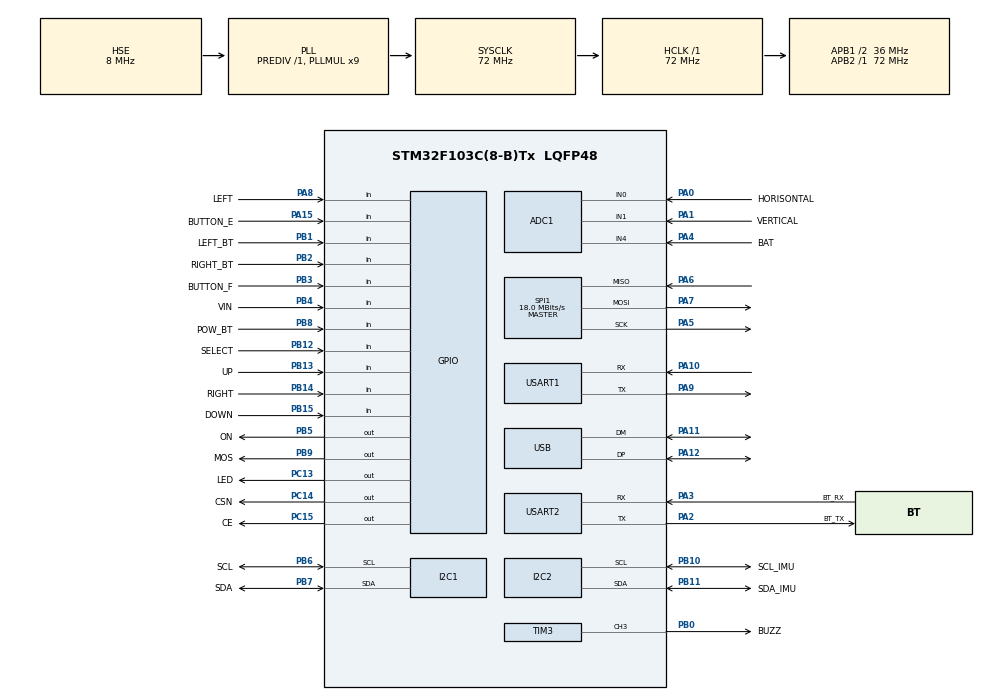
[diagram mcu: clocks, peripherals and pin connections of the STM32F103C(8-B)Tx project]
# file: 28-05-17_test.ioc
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ADC1.Channel-28\#ChannelRegularConversion=ADC_CHANNEL_0
ADC1.NbrOfConversionFlag=1
ADC1.Rank-28\#ChannelRegularConversion=1
ADC1.SamplingTime-28\#ChannelRegularConversion=ADC_SAMPLETIME_1CYCLE_5
ADC1.master=1
Mcu.Family=STM32F1
Mcu.Name=STM32F103C(8-B)Tx
Mcu.Package=LQFP48
NVIC.PriorityGroup=NVIC_PRIORITYGROUP_4
NVIC.USB_LP_CAN1_RX0_IRQn=true\:0\:0\:false\:false\:true\:true\:true
PA0-WKUP.GPIO_Label=HORISONTAL
PA0-WKUP.Signal=ADCx_IN0
PA1.GPIO_Label=VERTICAL
PA1.Signal=ADCx_IN1
PA10.Mode=Asynchronous
PA10.Signal=USART1_RX
PA11.Mode=Device
PA11.Signal=USB_DM
PA12.Mode=Device
PA12.Signal=USB_DP
PA13.Mode=Serial_Wire
PA13.Signal=SYS_JTMS-SWDIO
PA14.Mode=Serial_Wire
PA14.Signal=SYS_JTCK-SWCLK
PA15.GPIO_Label=BUTTON_E
PA15.Signal=GPIO_Input
PA2.GPIO_Label=BT_TX
PA2.Mode=Asynchronous
PA2.Signal=USART2_TX
PA3.GPIO_Label=BT_RX
PA3.Mode=Asynchronous
PA3.Signal=USART2_RX
PA4.GPIO_Label=BAT
PA4.Signal=ADCx_IN4
PA5.Mode=Full_Duplex_Master
PA5.Signal=SPI1_SCK
PA6.Mode=Full_Duplex_Master
PA6.Signal=SPI1_MISO
PA7.Mode=Full_Duplex_Master
PA7.Signal=SPI1_MOSI
PA8.GPIO_Label=LEFT
PA8.Signal=GPIO_Input
PA9.Mode=Asynchronous
PA9.Signal=USART1_TX
PB0.GPIO_Label=BUZZ
PB0.Signal=S_TIM3_CH3
PB1.GPIO_Label=LEFT_BT
PB1.Signal=GPIO_Input
PB10.GPIO_Label=SCL_IMU
PB10.Mode=I2C
PB10.Signal=I2C2_SCL
PB11.GPIO_Label=SDA_IMU
PB11.Mode=I2C
PB11.Signal=I2C2_SDA
PB12.GPIO_Label=SELECT
PB12.Signal=GPIO_Input
PB13.GPIO_Label=UP
PB13.Signal=GPIO_Input
PB14.GPIO_Label=RIGHT
PB14.Signal=GPIO_Input
PB15.GPIO_Label=DOWN
PB15.Signal=GPIO_Input
PB2.GPIO_Label=RIGHT_BT
PB2.Signal=GPIO_Input
PB3.GPIO_Label=BUTTON_F
PB3.Signal=GPIO_Input
PB4.GPIO_Label=VIN
PB4.Signal=GPIO_Input
PB5.GPIO_Label=ON
PB5.Signal=GPIO_Output
PB6.GPIO_Label=SCL
PB6.Mode=I2C
PB6.Signal=I2C1_SCL
PB7.GPIO_Label=SDA
PB7.Mode=I2C
PB7.Signal=I2C1_SDA
PB8.GPIO_Label=POW_BT
PB8.Signal=GPIO_Input
PB9.GPIO_Label=MOS
PB9.Signal=GPIO_Output
PC13-TAMPER-RTC.GPIO_Label=LED
PC13-TAMPER-RTC.Signal=GPIO_Output
PC14-OSC32_IN.GPIO_Label=CSN
PC14-OSC32_IN.Signal=GPIO_Output
PC15-OSC32_OUT.GPIO_Label=CE
PC15-OSC32_OUT.Signal=GPIO_Output
PD0-OSC_IN.Mode=HSE-External-Oscillator
PD0-OSC_IN.Signal=RCC_OSC_IN
PD1-OSC_OUT.Mode=HSE-External-Oscillator
PD1-OSC_OUT.Signal=RCC_OSC_OUT
ProjectManager.HeapSize=0x200
ProjectManager.StackSize=0x400
ProjectManager.TargetToolchain=STM32CubeIDE
RCC.ADCPresc=RCC_ADCPCLK2_DIV6
RCC.AHBFreq_Value=72000000
RCC.APB1CLKDivider=RCC_HCLK_DIV2
RCC.APB1Freq_Value=36000000
RCC.APB1TimFreq_Value=72000000
RCC.APB2Freq_Value=72000000
RCC.APB2TimFreq_Value=72000000
RCC.HCLKFreq_Value=72000000
RCC.PLLMUL=RCC_PLL_MUL9
RCC.RTCClockSelection=RCC_RTCCLKSOURCE_LSE
RCC.SYSCLKFreq_VALUE=72000000
RCC.SYSCLKSource=RCC_SYSCLKSOURCE_PLLCLK
RCC.USBFreq_Value=48000000
RCC.USBPrescaler=RCC_USBCLKSOURCE_PLL_DIV1_5
RCC.VDD_VALUE=3.3
SH.ADCx_IN0.0=ADC1_IN0,IN0
SH.ADCx_IN1.0=ADC1_IN1,IN1
SH.ADCx_IN4.0=ADC1_IN4,IN4
SH.S_TIM3_CH3.0=TIM3_CH3,PWM Generation3 CH3
SPI1.BaudRatePrescaler=SPI_BAUDRATEPRESCALER_4
SPI1.CalculateBaudRate=18.0 MBits/s
SPI1.Direction=SPI_DIRECTION_2LINES
SPI1.Mode=SPI_MODE_MASTER
SPI1.VirtualType=VM_MASTER
TIM3.Channel-PWM\ Generation3\ CH3=TIM_CHANNEL_3
USART1.VirtualMode=VM_ASYNC
USART2.VirtualMode=VM_ASYNC
USB_DEVICE.CLASS_NAME_FS=CUSTOMHID
USB_DEVICE.INTERFACE_STRING_CUSTOMHID_FS=\\xB2\\x03\\x58\\x00\\x62\\x00\\x6F\\x00\\x78\\x00\\x20\\x00\\x53\\x00\\x65\\x00\\x63\\x00\\x75\\x00\\x72\\x00\\x69\\x00\\x74\\x00\\x79\\x00\\x20\\x00\\x4D\\x00\\x65\\x00\\x74\\x00\\x68\\x00\\x6F\\x00\\x64\\x00\\x20\\x00\\x33\\x00\\x2C\\x00\\x20\\x00\\x56\\x00\\x65\\x00\\x72\\x00\\x73\\x00\\x69\\x00\\x6F\\x00\\x6E\\x00\\x20\\x00\\x31\\x00\\x2E\\x00\\x30\\x00\\x30\\x00\\x2C\\x00\\x20\\x00\\xA9\\x00\\x20\\x00\\x32\\x00\\x30\\x00\\x30\\x00\\x35\\x00\\x20\\x00\\x4D\\x00\\x69\\x00\\x63\\x00\\x72\\x00\\x6F\\x00\\x73\\x00\\x6F\\x00\\x66\\x00\\x74\\x00\\x20\\x00\\x43\\x00\\x6F\\x00\\x72\\x00\\x70\\x00\\x6F\\x00\\x72\\x00\\x61\\x00\\x74\\x00\\x69\\x00\\x6F\\x00\\x6E\\x00\\x2E\\x00\\x20\\x00\\x41\\x00\\x6C\\x00\\x6C\\x00\\x20\\x00\\x72\\x00\\x69\\x00\\x67\\x00\\x68\\x00\\x74\\x00\\x73\\x00\\x20\\x00\\x72\\x00\\x65\\x00\\x73\\x00\\x65\\x00\\x72\\x00\\x76\\x00\\x65\\x00\\x64\\x00\\x2E\\x00
USB_DEVICE.MANUFACTURER_STRING-CUSTOM_HID_FS=alextrof94
USB_DEVICE.PID_CUSTOMHID_FS=654
USB_DEVICE.PRODUCT_STRING_CUSTOMHID_FS=STM32 JOYSTICK
USB_DEVICE.USBD_CUSTOMHID_OUTREPORT_BUF_SIZE-CUSTOM_HID_FS=20
USB_DEVICE.USBD_CUSTOM_HID_REPORT_DESC_SIZE-CUSTOM_HID_FS=20
USB_DEVICE.VID-CUSTOM_HID_FS=1118
USB_DEVICE.VirtualModeFS=Custom_Hid_FS
VP_USB_DEVICE_VS_USB_DEVICE_CUSTOM_HID_FS.Mode=CUSTOM_HID_FS
board=28-05-17_test

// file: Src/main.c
/**
  ******************************************************************************
  * File Name          : main.c
  * Description        : Main program body
  ******************************************************************************
  *
  * Copyright (c) 2020 STMicroelectronics International N.V.
  * All rights reserved.
  *
  * Redistribution and use in source and binary forms, with or without
  * modification, are permitted, provided that the following conditions are met:
  *
  * 1. Redistribution of source code must retain the above copyright notice,
  *    this list of conditions and the following disclaimer.
  * 2. Redistributions in binary form must reproduce the above copyright notice,
  *    this list of conditions and the following disclaimer in the documentation
  *    and/or other materials provided with the distribution.
  * 3. Neither the name of STMicroelectronics nor the names of other
  *    contributors to this software may be used to endorse or promote products
  *    derived from this software without specific written permission.
  * 4. This software, including modifications and/or derivative works of this
  *    software, must execute solely and exclusively on microcontroller or
  *    microprocessor devices manufactured by or for STMicroelectronics.
  * 5. Redistribution and use of this software other than as permitted under
  *    this license is void and will automatically terminate your rights under
  *    this license.
  *
  * THIS SOFTWARE IS PROVIDED BY STMICROELECTRONICS AND CONTRIBUTORS "AS IS"
  * AND ANY EXPRESS, IMPLIED OR STATUTORY WARRANTIES, INCLUDING, BUT NOT
  * LIMITED TO, THE IMPLIED WARRANTIES OF MERCHANTABILITY, FITNESS FOR A
  * PARTICULAR PURPOSE AND NON-INFRINGEMENT OF THIRD PARTY INTELLECTUAL PROPERTY
  * RIGHTS ARE DISCLAIMED TO THE FULLEST EXTENT PERMITTED BY LAW. IN NO EVENT
  * SHALL STMICROELECTRONICS OR CONTRIBUTORS BE LIABLE FOR ANY DIRECT, INDIRECT,
  * INCIDENTAL, SPECIAL, EXEMPLARY, OR CONSEQUENTIAL DAMAGES (INCLUDING, BUT NOT
  * LIMITED TO, PROCUREMENT OF SUBSTITUTE GOODS OR SERVICES; LOSS OF USE, DATA,
  * OR PROFITS; OR BUSINESS INTERRUPTION) HOWEVER CAUSED AND ON ANY THEORY OF
  * LIABILITY, WHETHER IN CONTRACT, STRICT LIABILITY, OR TORT (INCLUDING
  * NEGLIGENCE OR OTHERWISE) ARISING IN ANY WAY OUT OF THE USE OF THIS SOFTWARE,
  * EVEN IF ADVISED OF THE POSSIBILITY OF SUCH DAMAGE.
  *
  ******************************************************************************
  */
#include "main.h"
#include "stm32f1xx_hal.h"
#include "usb_device.h"

/* USER CODE BEGIN Includes */
#include "usbd_custom_hid_if.h"
#include "usbd_customhid.h"

#include "string.h"

#include "ssd1306.h"
#include "i2c-lcd.h"
//#include "stdio.h"

/* USER CODE END Includes */

ADC_HandleTypeDef hadc1;

I2C_HandleTypeDef hi2c1;
I2C_HandleTypeDef hi2c2;

SPI_HandleTypeDef hspi1;

TIM_HandleTypeDef htim3;

UART_HandleTypeDef huart1;
UART_HandleTypeDef huart2;

/* USER CODE BEGIN PV */
/* Private variables ---------------------------------------------------------*/
/* USER CODE END PV */

void SystemClock_Config(void);
void Error_Handler(void);
static void MX_GPIO_Init(void);
static void MX_ADC1_Init(void);
static void MX_I2C1_Init(void);
static void MX_I2C2_Init(void);
static void MX_SPI1_Init(void);
static void MX_TIM3_Init(void);
static void MX_USART1_UART_Init(void);
static void MX_USART2_UART_Init(void);

void HAL_TIM_MspPostInit(TIM_HandleTypeDef *htim);

/* USER CODE BEGIN PFP */
/* Private function prototypes -----------------------------------------------*/

/* USER CODE END PFP */

/* USER CODE BEGIN 0 */

uint8_t V_Value;
uint8_t H_Value;
uint8_t Buttons_1 = 0;
uint8_t Buttons_2 = 0;

//extern USBD_HandleTypeDef  *hUsbDeviceFS;
uint8_t dataToSend[20] = {0x00, 0x14, 0x01, 0xEE, 0x0F, 0x00, 0x0F, 0x00, 0xFF, 0xFF, 0x00, 0x00, 0x00, 0x00, 0x00, 0x00, 0x00, 0x00, 0x00, 0x00};
//                        butns|size|     |     | lt  | rt  | lx        | ly        | rx        | ry        | unused
//                                    b10 & b9  & b7  & b8  & dr  & dl  & dd  & du
//                                          b4  & b3  & b2  & b1  & b0  & nusd & xbox & b6  & b5
uint8_t dataReceived[8]; // not used yet
uint16_t adcFrom [3];
int16_t adcFromBuffer [3];

uint32_t ticksNextBlink = 0;
uint32_t ticksForBlink = 1000/60;

uint8_t buttonPressed = 0;

uint8_t EncoderState = 0;
uint8_t EncoderLastState = 0;
uint8_t Encoder_A = 0;
uint8_t Encoder_B = 0;

uint16_t WheelValue = 2048;

/*
uint8_t readA(){ return HAL_GPIO_ReadPin(GPIOA, GPIO_PIN_3); }
uint8_t readB(){ return HAL_GPIO_ReadPin(GPIOA, GPIO_PIN_4); }
uint8_t readX(){ return HAL_GPIO_ReadPin(GPIOA, GPIO_PIN_5); }
uint8_t readY(){ return HAL_GPIO_ReadPin(GPIOA, GPIO_PIN_6); }
uint8_t readMode(){ return HAL_GPIO_ReadPin(GPIOB, GPIO_PIN_1); }
uint8_t readLB(){ return 0; }
uint8_t readRB(){ return 0; }
uint8_t readDU(){ return 0; }
uint8_t readDD(){ return 0; }
uint8_t readDL(){ return 0; }
uint8_t readDR(){ return 0; }
uint8_t readStart(){ return HAL_GPIO_ReadPin(GPIOB, GPIO_PIN_0); }
uint8_t readBack(){ return HAL_GPIO_ReadPin(GPIOA, GPIO_PIN_7); }
uint8_t readLS(){ return 0; }
uint8_t readRS(){ return 0; }
*/

void UpdateWheel()
{
	Encoder_A = HAL_GPIO_ReadPin(GPIOB, GPIO_PIN_0);
	Encoder_B = HAL_GPIO_ReadPin(GPIOB, GPIO_PIN_1) << 1;
	EncoderState = Encoder_A | Encoder_B;

		//HAL_GPIO_WritePin(GPIOC, GPIO_PIN_13, !HAL_GPIO_ReadPin(GPIOC, GPIO_PIN_13));
		if (EncoderLastState != EncoderState){
		    switch (EncoderState) {
		      case 0:
		        if (EncoderLastState == 2){
		        	WheelValue += 24;
		          //cw = 1;
		        }
		        else if(EncoderLastState == 1){
		        	WheelValue -= 24;
		          //cw = -1;
		        }
		        break;
		      case 1:
		        if (EncoderLastState == 0){
		        	WheelValue += 24;
		          //cw = 1;
		        }
		        else if(EncoderLastState == 3){
		        	WheelValue -= 24;
		          //cw = -1;
		        }
		        break;
		      case 2:
		        if (EncoderLastState == 3){
		        	WheelValue += 24;
		          //cw = 1;
		        }
		        else if(EncoderLastState == 0){
		        	WheelValue -= 24;
		          //cw = -1;
		        }
		        break;
		      case 3:
		        if (EncoderLastState == 1){
		        	WheelValue += 24;
		          //cw = 1;
		        }
		        else if(EncoderLastState == 2){
		        	WheelValue -= 24;
		          //cw = -1;
		        }
		        break;
		    }
		  }

		EncoderLastState = EncoderState;
}

void updateButtons()
{
	// btns |rs|, |ls|, |select|, |start|, |dr|, |dl|, |dd|, |du|
	dataToSend[2] = 0;
	//dataToSend[2] = Buttons_1;
	/*		// Chwilowo
	dataToSend[2] |= (readDU() & 1) << 0;
	dataToSend[2] |= (readDD() & 1) << 1;
	dataToSend[2] |= (readDL() & 1) << 2;
	dataToSend[2] |= (readDR() & 1) << 3;
	dataToSend[2] |= (readStart() & 1) << 4;
	dataToSend[2] |= (readBack()  & 1) << 5;
	dataToSend[2] |= (readLS() & 1) << 6;
	dataToSend[2] |= (readRS() & 1) << 7;
	*/
	// btns |y|, |x|, |b|, |a|, _, _, |rb|, |lb|

	dataToSend[3] = 0;
	//dataToSend[3] = Buttons_2;
	/*		// Chwilowo
	dataToSend[3] |= (readLB() & 1) << 0;
	dataToSend[3] |= (readRB() & 1) << 1;
	dataToSend[3] |= (0 & 1) << 2;
	dataToSend[3] |= (0 & 1) << 3;
	dataToSend[3] |= (readA()  & 1) << 4;
	dataToSend[3] |= (readB()  & 1) << 5;
	dataToSend[3] |= (readX()  & 1) << 6;
	dataToSend[3] |= (readY()  & 1) << 7;
	*/
	// z = -left-trigger zone _ 0 _ right-trigger zone
	/*
	adcFromBuffer[2] = (int16_t)adcFrom[2];
	adcFromBuffer[2] /= 8;
	adcFromBuffer[2] = adcFromBuffer[2] - 255;
	*/
	// left & right triggers
	dataToSend[4] = 0; //left
	dataToSend[5] = 0; //right
	/*
	if (adcFromBuffer[2] < 0)
		dataToSend[4] = (uint8_t)(256 - (adcFromBuffer[2] & 0xFF));
	else
		dataToSend[5] = adcFromBuffer[2] & 0xFF;
		*/
///////////////////////////////////////////////////////////////////////////// lx
	adcFromBuffer[1] = WheelValue;//(int16_t)adcFrom[0];
	adcFromBuffer[1] -= 2048;
	adcFromBuffer[1] *= 16;
	dataToSend[6] = adcFromBuffer[1] & 0xFF;
	dataToSend[7] = (adcFromBuffer[1] >> 8) & 0xFF;
	/*
	adcFromBuffer[1] = (int16_t)V_Value;
	adcFromBuffer[1] -= 110;
	//adcFromBuffer[1] -= 1;		// Aby nie przekroczyc zakresu
	adcFromBuffer[1] *= -256;
	dataToSend[6] = adcFromBuffer[1] & 0xFF;
	dataToSend[7] = (adcFromBuffer[1] >> 8) & 0xFF;
///////////////////////////////////////////////////////////////////////////// ly
	adcFromBuffer[0] = (int16_t)H_Value;
	adcFromBuffer[0] -= 110;
	//adcFromBuffer[1] -= 1;		// Aby nie przekroczyc zakresu
	adcFromBuffer[0] *= -256;
	dataToSend[8] = adcFromBuffer[0] & 0xFF;
	dataToSend[9] = (adcFromBuffer[0] >> 8) & 0xFF;
	*/
	//adcFromBuffer[0] = (int16_t)adcFrom[0];
	//adcFromBuffer[0] -= 2048;
	//adcFromBuffer[0] *= 16;
	adcFromBuffer[0] = 0;
	dataToSend[8] = adcFromBuffer[0] & 0xFF;
	dataToSend[9] = (adcFromBuffer[0] >> 8) & 0xFF;

/////////////////////////////////////////////////////////////////////////////
	// rx
	dataToSend[10] = 0x7F;
	dataToSend[11] = 0xFF;
	// ry
	dataToSend[12] = 0x7F;
	dataToSend[13] = 0xFF;
}
/* USER CODE END 0 */

int main(void)
{

  /* USER CODE BEGIN 1 */

	//Encoder_A = HAL_GPIO_ReadPin(GPIOB, GPIO_PIN_0);
	//Encoder_B = HAL_GPIO_ReadPin(GPIOB, GPIO_PIN_1) << 1;
	//EncoderLastState = Encoder_A | Encoder_B;
  /* USER CODE END 1 */

  /* MCU Configuration----------------------------------------------------------*/

  /* Reset of all peripherals, Initializes the Flash interface and the Systick. */
  HAL_Init();

  /* Configure the system clock */
  SystemClock_Config();

  /* Initialize all configured peripherals */
  MX_GPIO_Init();
  MX_ADC1_Init();
  MX_I2C1_Init();
  MX_I2C2_Init();
  MX_SPI1_Init();
  MX_TIM3_Init();
  MX_USART1_UART_Init();
  MX_USART2_UART_Init();
  MX_USB_DEVICE_Init();

  /* USER CODE BEGIN 2 */
  //HAL_ADC_Start_DMA(&hadc1, (uint32_t*)&adcFrom, 3); // for analog reading start periph-to-mem dma for 3 pins. settings in CUBE
  //adcFrom[0] = 0;
  //adcFrom[1] = 0;
  // INICJALIZACJA EKRANU
  /*
	lcd_init ();
	uint8_t check = SSD1306_Init ();
	SSD1306_Fill (0);
	SSD1306_UpdateScreen(); //display
	SSD1306_GotoXY (10,10);
	SSD1306_Puts ("HELLO", &Font_11x18, 1);
	SSD1306_GotoXY (10, 30);
	SSD1306_Puts ("WORLD !!", &Font_11x18, 1);
	SSD1306_UpdateScreen(); //display
	//while((HAL_I2C_IsDeviceReady (&hi2c1, 0x4E, 10, 100)));
	//lcd_send_string ("HELLO WORLD !!");
	SSD1306_Fill (0);
	SSD1306_UpdateScreen(); //display

	HAL_Delay(100);
	*/
  /* USER CODE END 2 */

  /* Infinite loop */
  /* USER CODE BEGIN WHILE */

  //printf("Elo\n");
  //char buff[2];

  //HAL_GPIO_WritePin( GPIOC, GPIO_PIN_13, 1);

  while (1)
    {
	  /*
  	  char String[16];

	  int n;
	  uint8_t Start_Bit;

	  HAL_UART_Receive(&huart3, &Start_Bit, 2 ,1000);		// Blokujace bo nie ma pzrerwa�
	  HAL_GPIO_WritePin(GPIOC, GPIO_PIN_13, !HAL_GPIO_ReadPin(GPIOC, GPIO_PIN_13));
	  if (Start_Bit == 1)
	  {
		  U3S('1');

		  HAL_UART_Receive(&huart3, &H_Value, 1 ,1000);		// Blokujace bo nie ma pzrerwa�
		  n=sprintf (String, "Y: %d    ", H_Value);
		  SSD1306_GotoXY (0,10);
		  SSD1306_Puts (String, &Font_7x10, 1);

		  HAL_UART_Receive(&huart3, &V_Value, 1 ,1000);		// Blokujace bo nie ma pzrerwa�
		  n=sprintf (String, "X: %d    ", V_Value);
		  SSD1306_GotoXY (0,20);
		  SSD1306_Puts (String, &Font_7x10, 1);

		  HAL_UART_Receive(&huart3, &Buttons_1, 1 ,1000);		// Blokujace bo nie ma pzrerwa�
		  n=sprintf (String, "B_1: %d    ", Buttons_1);
		  SSD1306_GotoXY (0,30);
		  SSD1306_Puts (String, &Font_7x10, 1);

		  HAL_UART_Receive(&huart3, &Buttons_2, 1 ,1000);		// Blokujace bo nie ma pzrerwa�
		  n=sprintf (String, "B_2: %d    ", Buttons_2);
		  SSD1306_GotoXY (0,40);
		  SSD1306_Puts (String, &Font_7x10, 1);
	  }
	  else
	  {
		  // Odebralismy przypadkiem syf jakis
		 SSD1306_GotoXY (0,10);
		 SSD1306_Puts ("Error_01", &Font_7x10, 1);
		 SSD1306_GotoXY (0,20);
		 n=sprintf (String, "Recived: %d    ", Start_Bit);
		 SSD1306_Puts (String, &Font_7x10, 1);
	  }
	  SSD1306_UpdateScreen(); //display
*/
	  UpdateWheel();

	  //if (HAL_GetTick() > ticksNextBlink)
	  {
		  ticksNextBlink = HAL_GetTick() + ticksForBlink;
		  updateButtons();

		  USBD_CUSTOM_HID_SendReport(&hUsbDeviceFS, dataToSend, 20);

	  }

  /* USER CODE END WHILE */

  }

}

/** System Clock Configuration
*/
void SystemClock_Config(void)
{

  RCC_OscInitTypeDef RCC_OscInitStruct;
  RCC_ClkInitTypeDef RCC_ClkInitStruct;
  RCC_PeriphCLKInitTypeDef PeriphClkInit;

    /**Initializes the CPU, AHB and APB busses clocks
    */
  RCC_OscInitStruct.OscillatorType = RCC_OSCILLATORTYPE_HSE;
  RCC_OscInitStruct.HSEState = RCC_HSE_ON;
  RCC_OscInitStruct.HSEPredivValue = RCC_HSE_PREDIV_DIV1;
  RCC_OscInitStruct.HSIState = RCC_HSI_ON;
  RCC_OscInitStruct.PLL.PLLState = RCC_PLL_ON;
  RCC_OscInitStruct.PLL.PLLSource = RCC_PLLSOURCE_HSE;
  RCC_OscInitStruct.PLL.PLLMUL = RCC_PLL_MUL9;
  if (HAL_RCC_OscConfig(&RCC_OscInitStruct) != HAL_OK)
  {
    Error_Handler();
  }

    /**Initializes the CPU, AHB and APB busses clocks
    */
  RCC_ClkInitStruct.ClockType = RCC_CLOCKTYPE_HCLK|RCC_CLOCKTYPE_SYSCLK
                              |RCC_CLOCKTYPE_PCLK1|RCC_CLOCKTYPE_PCLK2;
  RCC_ClkInitStruct.SYSCLKSource = RCC_SYSCLKSOURCE_PLLCLK;
  RCC_ClkInitStruct.AHBCLKDivider = RCC_SYSCLK_DIV1;
  RCC_ClkInitStruct.APB1CLKDivider = RCC_HCLK_DIV2;
  RCC_ClkInitStruct.APB2CLKDivider = RCC_HCLK_DIV1;

  if (HAL_RCC_ClockConfig(&RCC_ClkInitStruct, FLASH_LATENCY_2) != HAL_OK)
  {
    Error_Handler();
  }

  PeriphClkInit.PeriphClockSelection = RCC_PERIPHCLK_ADC|RCC_PERIPHCLK_USB;
  PeriphClkInit.AdcClockSelection = RCC_ADCPCLK2_DIV6;
  PeriphClkInit.UsbClockSelection = RCC_USBCLKSOURCE_PLL_DIV1_5;
  if (HAL_RCCEx_PeriphCLKConfig(&PeriphClkInit) != HAL_OK)
  {
    Error_Handler();
  }

    /**Configure the Systick interrupt time
    */
  HAL_SYSTICK_Config(HAL_RCC_GetHCLKFreq()/1000);

    /**Configure the Systick
    */
  HAL_SYSTICK_CLKSourceConfig(SYSTICK_CLKSOURCE_HCLK);

  /* SysTick_IRQn interrupt configuration */
  HAL_NVIC_SetPriority(SysTick_IRQn, 0, 0);
}

/* ADC1 init function */
static void MX_ADC1_Init(void)
{

  ADC_ChannelConfTypeDef sConfig;

    /**Common config
    */
  hadc1.Instance = ADC1;
  hadc1.Init.ScanConvMode = ADC_SCAN_DISABLE;
  hadc1.Init.ContinuousConvMode = DISABLE;
  hadc1.Init.DiscontinuousConvMode = DISABLE;
  hadc1.Init.ExternalTrigConv = ADC_SOFTWARE_START;
  hadc1.Init.DataAlign = ADC_DATAALIGN_RIGHT;
  hadc1.Init.NbrOfConversion = 1;
  if (HAL_ADC_Init(&hadc1) != HAL_OK)
  {
    Error_Handler();
  }

    /**Configure Regular Channel
    */
  sConfig.Channel = ADC_CHANNEL_0;
  sConfig.Rank = 1;
  sConfig.SamplingTime = ADC_SAMPLETIME_1CYCLE_5;
  if (HAL_ADC_ConfigChannel(&hadc1, &sConfig) != HAL_OK)
  {
    Error_Handler();
  }

}

/* I2C1 init function */
static void MX_I2C1_Init(void)
{

  hi2c1.Instance = I2C1;
  hi2c1.Init.ClockSpeed = 100000;
  hi2c1.Init.DutyCycle = I2C_DUTYCYCLE_2;
  hi2c1.Init.OwnAddress1 = 0;
  hi2c1.Init.AddressingMode = I2C_ADDRESSINGMODE_7BIT;
  hi2c1.Init.DualAddressMode = I2C_DUALADDRESS_DISABLE;
  hi2c1.Init.OwnAddress2 = 0;
  hi2c1.Init.GeneralCallMode = I2C_GENERALCALL_DISABLE;
  hi2c1.Init.NoStretchMode = I2C_NOSTRETCH_DISABLE;
  if (HAL_I2C_Init(&hi2c1) != HAL_OK)
  {
    Error_Handler();
  }

}

/* I2C2 init function */
static void MX_I2C2_Init(void)
{

  hi2c2.Instance = I2C2;
  hi2c2.Init.ClockSpeed = 100000;
  hi2c2.Init.DutyCycle = I2C_DUTYCYCLE_2;
  hi2c2.Init.OwnAddress1 = 0;
  hi2c2.Init.AddressingMode = I2C_ADDRESSINGMODE_7BIT;
  hi2c2.Init.DualAddressMode = I2C_DUALADDRESS_DISABLE;
  hi2c2.Init.OwnAddress2 = 0;
  hi2c2.Init.GeneralCallMode = I2C_GENERALCALL_DISABLE;
  hi2c2.Init.NoStretchMode = I2C_NOSTRETCH_DISABLE;
  if (HAL_I2C_Init(&hi2c2) != HAL_OK)
  {
    Error_Handler();
  }

}

/* SPI1 init function */
static void MX_SPI1_Init(void)
{

  hspi1.Instance = SPI1;
  hspi1.Init.Mode = SPI_MODE_MASTER;
  hspi1.Init.Direction = SPI_DIRECTION_2LINES;
  hspi1.Init.DataSize = SPI_DATASIZE_8BIT;
  hspi1.Init.CLKPolarity = SPI_POLARITY_LOW;
  hspi1.Init.CLKPhase = SPI_PHASE_1EDGE;
  hspi1.Init.NSS = SPI_NSS_SOFT;
  hspi1.Init.BaudRatePrescaler = SPI_BAUDRATEPRESCALER_4;
  hspi1.Init.FirstBit = SPI_FIRSTBIT_MSB;
  hspi1.Init.TIMode = SPI_TIMODE_DISABLE;
  hspi1.Init.CRCCalculation = SPI_CRCCALCULATION_DISABLE;
  hspi1.Init.CRCPolynomial = 10;
  if (HAL_SPI_Init(&hspi1) != HAL_OK)
  {
    Error_Handler();
  }

}

/* TIM3 init function */
static void MX_TIM3_Init(void)
{

  TIM_MasterConfigTypeDef sMasterConfig;
  TIM_OC_InitTypeDef sConfigOC;

  htim3.Instance = TIM3;
  htim3.Init.Prescaler = 0;
  htim3.Init.CounterMode = TIM_COUNTERMODE_UP;
  htim3.Init.Period = 0;
  htim3.Init.ClockDivision = TIM_CLOCKDIVISION_DIV1;
  if (HAL_TIM_PWM_Init(&htim3) != HAL_OK)
  {
    Error_Handler();
  }

  sMasterConfig.MasterOutputTrigger = TIM_TRGO_RESET;
  sMasterConfig.MasterSlaveMode = TIM_MASTERSLAVEMODE_DISABLE;
  if (HAL_TIMEx_MasterConfigSynchronization(&htim3, &sMasterConfig) != HAL_OK)
  {
    Error_Handler();
  }

  sConfigOC.OCMode = TIM_OCMODE_PWM1;
  sConfigOC.Pulse = 0;
  sConfigOC.OCPolarity = TIM_OCPOLARITY_HIGH;
  sConfigOC.OCFastMode = TIM_OCFAST_DISABLE;
  if (HAL_TIM_PWM_ConfigChannel(&htim3, &sConfigOC, TIM_CHANNEL_3) != HAL_OK)
  {
    Error_Handler();
  }

  HAL_TIM_MspPostInit(&htim3);

}

/* USART1 init function */
static void MX_USART1_UART_Init(void)
{

  huart1.Instance = USART1;
  huart1.Init.BaudRate = 115200;
  huart1.Init.WordLength = UART_WORDLENGTH_8B;
  huart1.Init.StopBits = UART_STOPBITS_1;
  huart1.Init.Parity = UART_PARITY_NONE;
  huart1.Init.Mode = UART_MODE_TX_RX;
  huart1.Init.HwFlowCtl = UART_HWCONTROL_NONE;
  huart1.Init.OverSampling = UART_OVERSAMPLING_16;
  if (HAL_UART_Init(&huart1) != HAL_OK)
  {
    Error_Handler();
  }

}

/* USART2 init function */
static void MX_USART2_UART_Init(void)
{

  huart2.Instance = USART2;
  huart2.Init.BaudRate = 115200;
  huart2.Init.WordLength = UART_WORDLENGTH_8B;
  huart2.Init.StopBits = UART_STOPBITS_1;
  huart2.Init.Parity = UART_PARITY_NONE;
  huart2.Init.Mode = UART_MODE_TX_RX;
  huart2.Init.HwFlowCtl = UART_HWCONTROL_NONE;
  huart2.Init.OverSampling = UART_OVERSAMPLING_16;
  if (HAL_UART_Init(&huart2) != HAL_OK)
  {
    Error_Handler();
  }

}

/** Configure pins as
        * Analog
        * Input
        * Output
        * EVENT_OUT
        * EXTI
*/
static void MX_GPIO_Init(void)
{

  GPIO_InitTypeDef GPIO_InitStruct;

  /* GPIO Ports Clock Enable */
  __HAL_RCC_GPIOC_CLK_ENABLE();
  __HAL_RCC_GPIOD_CLK_ENABLE();
  __HAL_RCC_GPIOA_CLK_ENABLE();
  __HAL_RCC_GPIOB_CLK_ENABLE();

  /*Configure GPIO pin Output Level */
  HAL_GPIO_WritePin(GPIOC, LED_Pin|CSN_Pin|CE_Pin, GPIO_PIN_RESET);

  /*Configure GPIO pin Output Level */
  HAL_GPIO_WritePin(GPIOB, ON_Pin|MOS_Pin, GPIO_PIN_RESET);

  /*Configure GPIO pins : LED_Pin CSN_Pin CE_Pin */
  GPIO_InitStruct.Pin = LED_Pin|CSN_Pin|CE_Pin;
  GPIO_InitStruct.Mode = GPIO_MODE_OUTPUT_PP;
  GPIO_InitStruct.Speed = GPIO_SPEED_FREQ_LOW;
  HAL_GPIO_Init(GPIOC, &GPIO_InitStruct);

  /*Configure GPIO pins : LEFT_BT_Pin RIGHT_BT_Pin SELECT_Pin UP_Pin
                           RIGHT_Pin DOWN_Pin BUTTON_F_Pin VIN_Pin
                           POW_BT_Pin */
  GPIO_InitStruct.Pin = LEFT_BT_Pin|RIGHT_BT_Pin|SELECT_Pin|UP_Pin
                          |RIGHT_Pin|DOWN_Pin|BUTTON_F_Pin|VIN_Pin
                          |POW_BT_Pin;
  GPIO_InitStruct.Mode = GPIO_MODE_INPUT;
  GPIO_InitStruct.Pull = GPIO_NOPULL;
  HAL_GPIO_Init(GPIOB, &GPIO_InitStruct);

  /*Configure GPIO pins : LEFT_Pin BUTTON_E_Pin */
  GPIO_InitStruct.Pin = LEFT_Pin|BUTTON_E_Pin;
  GPIO_InitStruct.Mode = GPIO_MODE_INPUT;
  GPIO_InitStruct.Pull = GPIO_NOPULL;
  HAL_GPIO_Init(GPIOA, &GPIO_InitStruct);

  /*Configure GPIO pins : ON_Pin MOS_Pin */
  GPIO_InitStruct.Pin = ON_Pin|MOS_Pin;
  GPIO_InitStruct.Mode = GPIO_MODE_OUTPUT_PP;
  GPIO_InitStruct.Speed = GPIO_SPEED_FREQ_LOW;
  HAL_GPIO_Init(GPIOB, &GPIO_InitStruct);

}

void Error_Handler(void)
{
  while(1)
  {
  }
}

/************************ (C) COPYRIGHT STMicroelectronics *****END OF FILE****/
